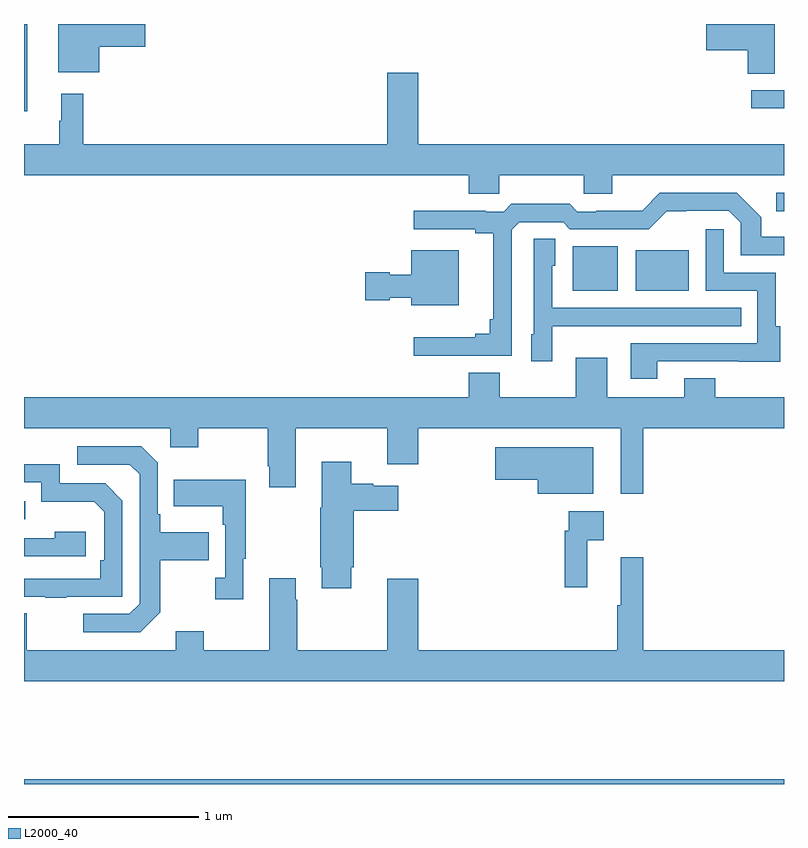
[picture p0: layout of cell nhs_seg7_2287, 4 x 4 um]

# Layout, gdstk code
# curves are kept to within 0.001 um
import gdstk
lib = gdstk.Library(unit=1e-6, precision=1e-09)
def R(c, l, rs):  # rectangles x0, y0, x1, y1
    for r in rs: c.add(gdstk.rectangle(r[:2], r[2:], *l))
def P(c, l, *ps):  # polygons
    for p in ps: c.add(gdstk.Polygon(p, *l))
L2000_40 = (2000, 40)

nhs_seg7_2287 = lib.new_cell('nhs_seg7_2287')
R(nhs_seg7_2287, L2000_40, [(259,1076,263,1076.024), (259,1077.393,259.007,1077.489), (261.887,1078.595,262.126,1078.831), (262.22,1078.595,262.498,1078.81), (262.959,1079.015,263,1079.112), (259,1079.54,259.018,1080), (262.827,1079.556,263,1079.652)])
P(nhs_seg7_2287, L2000_40, [(262.951,1080),(262.59,1080),(262.59,1079.861),(262.808,1079.861),(262.808,1079.737),(262.951,1079.737)],
  [(259.396,1079.879),(259.639,1079.879),(259.639,1080),(259.181,1080),(259.181,1079.747),(259.396,1079.747)],
  [(261.501,1079.204),(261.946,1079.204),(261.946,1079.106),(262.096,1079.106),(262.096,1079.204),(263,1079.204),(263,1079.368),(261.076,1079.368),(261.076,1079.743),(260.912,1079.743),(260.912,1079.368),(259.313,1079.368),(259.313,1079.632),(259.196,1079.632),(259.196,1079.492),(259.185,1079.492),(259.185,1079.368),(259,1079.368),(259,1079.204),(261.341,1079.204),(261.341,1079.106),(261.501,1079.106)],
  [(261.567,1078.917),(261.606,1078.956),(261.837,1078.956),(261.873,1078.92),(262.287,1078.92),(262.382,1079.015),(262.71,1079.016),(262.773,1078.953),(262.773,1078.782),(263,1078.782),(263,1078.879),(262.881,1078.879),(262.881,1078.982),(262.75,1079.112),(262.347,1079.112),(262.253,1079.018),(262.012,1079.018),(262.012,1079.013),(261.912,1079.013),(261.873,1079.053),(261.565,1079.053),(261.525,1079.013),(261.431,1079.013),(261.431,1079.018),(261.051,1079.018),(261.051,1078.92),(261.374,1078.92),(261.374,1078.898),(261.47,1078.898),(261.47,1078.447),(261.451,1078.447),(261.451,1078.37),(261.374,1078.37),(261.374,1078.351),(261.051,1078.351),(261.051,1078.254),(261.567,1078.254)],
  [(262.333,1078.224),(262.763,1078.224),(262.763,1078.223),(262.981,1078.223),(262.981,1078.41),(262.956,1078.41),(262.956,1078.692),(262.683,1078.692),(262.683,1078.921),(262.587,1078.921),(262.587,1078.596),(262.86,1078.596),(262.86,1078.32),(262.193,1078.32),(262.193,1078.134),(262.333,1078.134)],
  [(261.78,1078.409),(262.097,1078.409),(262.097,1078.41),(262.775,1078.41),(262.775,1078.506),(261.78,1078.506),(261.78,1078.728),(261.796,1078.728),(261.796,1078.871),(261.684,1078.871),(261.684,1078.368),(261.671,1078.368),(261.671,1078.224),(261.78,1078.224)],
  [(261.289,1078.81),(261.038,1078.81),(261.038,1078.681),(260.925,1078.681),(260.925,1078.694),(260.796,1078.694),(260.796,1078.547),(260.925,1078.547),(260.925,1078.559),(261.038,1078.559),(261.038,1078.52),(261.289,1078.52)],
  [(262.259,1077.872),(263,1077.872),(263,1078.036),(262.639,1078.036),(262.639,1078.135),(262.475,1078.135),(262.475,1078.036),(262.069,1078.036),(262.069,1078.243),(261.905,1078.243),(261.905,1078.036),(261.505,1078.036),(261.505,1078.165),(261.341,1078.165),(261.341,1078.036),(259,1078.036),(259,1077.872),(259.77,1077.872),(259.77,1077.773),(259.916,1077.773),(259.916,1077.872),(260.284,1077.872),(260.284,1077.673),(260.291,1077.673),(260.291,1077.561),(260.431,1077.561),(260.431,1077.872),(260.912,1077.872),(260.912,1077.684),(261.076,1077.684),(261.076,1077.872),(262.142,1077.872),(262.142,1077.528),(262.259,1077.528)],
  [(259.717,1076.905),(259.717,1077.178),(259.973,1077.178),(259.973,1077.325),(259.717,1077.325),(259.717,1077.421),(259.704,1077.421),(259.704,1077.69),(259.617,1077.777),(259.281,1077.777),(259.281,1077.681),(259.557,1077.681),(259.608,1077.63),(259.608,1076.949),(259.554,1076.895),(259.311,1076.895),(259.311,1076.799),(259.611,1076.799)],
  [(261.997,1077.772),(261.48,1077.772),(261.48,1077.602),(261.704,1077.602),(261.704,1077.527),(261.997,1077.527)],
  [(260.722,1077.142),(260.735,1077.142),(260.735,1077.437),(260.971,1077.437),(260.971,1077.571),(260.838,1077.571),(260.838,1077.579),(260.722,1077.579),(260.722,1077.697),(260.567,1077.697),(260.567,1077.453),(260.56,1077.453),(260.56,1077.142),(260.567,1077.142),(260.567,1077.03),(260.722,1077.03)],
  [(259.223,1076.985),(259.518,1076.985),(259.518,1077.492),(259.428,1077.582),(259.188,1077.582),(259.188,1077.684),(259,1077.684),(259,1077.588),(259.092,1077.588),(259.092,1077.485),(259.369,1077.485),(259.422,1077.432),(259.422,1077.178),(259.402,1077.178),(259.402,1077.081),(259,1077.081),(259,1076.985),(259.111,1076.985),(259.111,1076.98),(259.223,1076.98)],
  [(260.155,1077.185),(260.166,1077.185),(260.166,1077.601),(259.789,1077.601),(259.789,1077.461),(260.046,1077.461),(260.046,1077.365),(260.058,1077.365),(260.058,1077.086),(260.007,1077.086),(260.007,1076.973),(260.155,1076.973)],
  [(261.965,1077.284),(262.051,1077.284),(262.051,1077.436),(261.867,1077.436),(261.867,1077.332),(261.847,1077.332),(261.847,1077.036),(261.965,1077.036)],
  [(259.324,1077.328),(259.163,1077.328),(259.163,1077.294),(259,1077.294),(259,1077.198),(259.324,1077.198)],
  [(263,1076.704),(262.259,1076.704),(262.259,1077.193),(262.142,1077.193),(262.142,1076.94),(262.123,1076.94),(262.123,1076.704),(261.076,1076.704),(261.076,1077.079),(260.912,1077.079),(260.912,1076.704),(260.439,1076.704),(260.439,1076.969),(260.431,1076.969),(260.431,1077.082),(260.291,1077.082),(260.291,1076.704),(259.947,1076.704),(259.947,1076.803),(259.799,1076.803),(259.799,1076.704),(259.015,1076.704),(259.015,1076.899),(259,1076.899),(259,1076.54),(263,1076.54)])

lib.write_gds('nhs_seg7_2287.gds')
